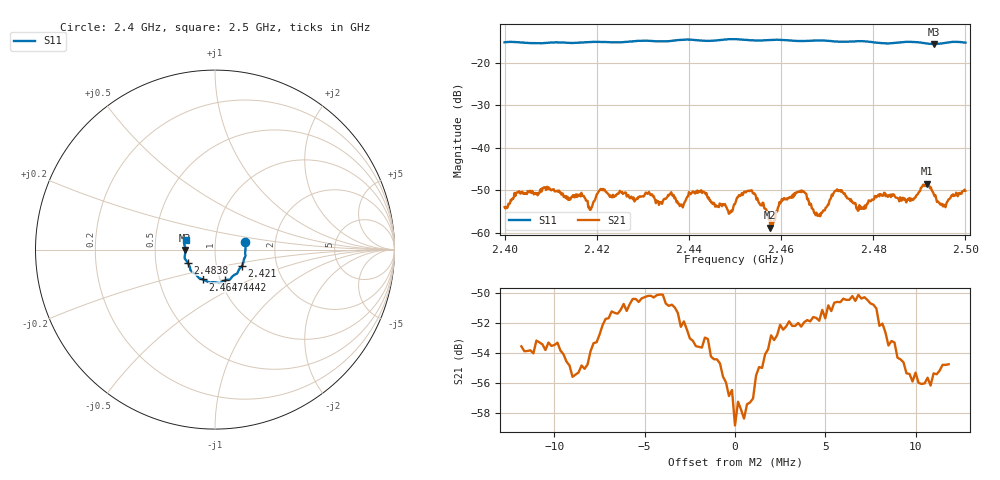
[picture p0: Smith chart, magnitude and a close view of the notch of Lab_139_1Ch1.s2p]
# Hz S RI R 50
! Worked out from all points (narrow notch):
!   601 points, 2.4 GHz to 2.5 GHz, reference 50 ohm
!   highest |S21| = -48.52 dB at 2.4917 GHz (marker M1); lowest = -58.8 dB at 2.4577 GHz (marker M2)
!   notch at M2: 7.3 dB deep, 2 MHz wide at half that depth
!   lowest |S11| = -15.6 dB at 2.4932 GHz (marker M3), VSWR 1.40, Z = 35.8 - j0.104 ohm
!   |S11| at or under -10 dB: start of sweep to end of sweep
!   S12 and S22 are empty: the file has one direction only
!   S11 on the Smith chart (normalised r, x): 2.4 GHz: 1.40, +0.12; 2.421 GHz: 1.33, -0.24; 2.4442 GHz: 1.05, -0.37; 2.4647 GHz: 0.83, -0.28; 2.4838 GHz: 0.73, -0.11; 2.5 GHz: 0.72, +0.08
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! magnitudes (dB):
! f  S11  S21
! 2.4 GHz  -15.2  -54.0
! 2.4088 GHz  -15.4  -49.4
! 2.4167 GHz  -15.3  -50.6
! 2.4187 GHz  -15.1  -54.6
! 2.421 GHz  -15.1  -49.9
! 2.4333 GHz  -15.0  -52.6
! 2.4442 GHz  -14.9  -52.0
! 2.45 GHz  -14.5  -53.3
! 2.4537 GHz  -14.8  -50.1
! 2.4577 GHz  -14.7  -58.8
! 2.4602 GHz  -14.7  -52.1
! 2.4647 GHz  -14.9  -50.3
! 2.4667 GHz  -14.8  -54.3
! 2.4685 GHz  -14.8  -56.2
! 2.4723 GHz  -15.1  -50.2
! 2.4772 GHz  -15.0  -54.4
! 2.4833 GHz  -15.5  -51.2
! 2.4838 GHz  -15.5  -51.7
! 2.4917 GHz  -15.5  -48.5
! 2.4932 GHz  -15.6  -51.0
! 2.4953 GHz  -15.4  -53.5
! 2.5 GHz  -15.3  -50.2
